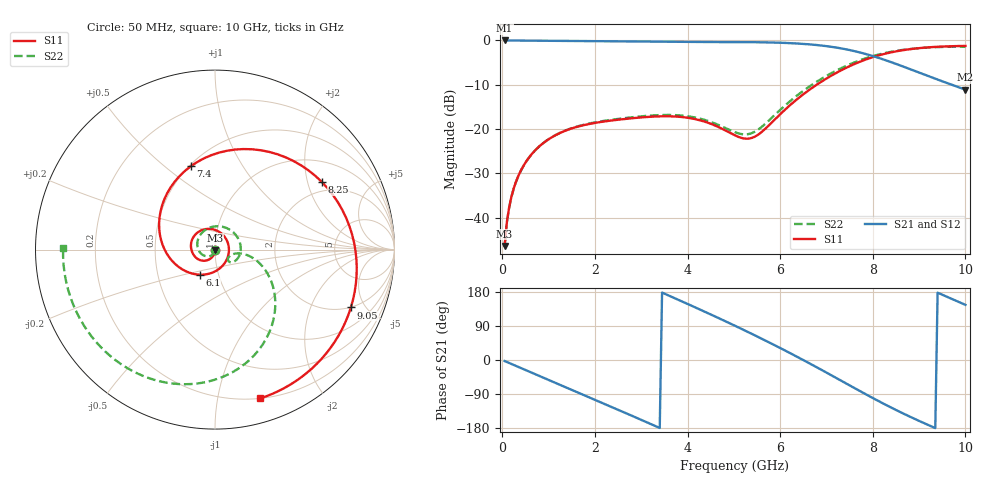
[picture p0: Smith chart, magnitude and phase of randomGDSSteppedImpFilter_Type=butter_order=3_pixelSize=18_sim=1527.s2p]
! freq	dB(S11)	phase(S11)	dB(S12)	phase(S12)
!  dB(S21)	phase(S21)	dB(S22)	phase(S22)
!S-par simulation data
#  GHz  S  DB  R 50
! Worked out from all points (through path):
!   200 points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, 50 MHz to 10 GHz, reference 50 ohm
!   highest |S21| = -0.01 dB at 50 MHz (marker M1); lowest = -11.1 dB at 10 GHz (marker M2)
!   group delay of S21, straight-line fit = 162 ps
!   lowest |S11| = -46.4 dB at 50 MHz (marker M3), VSWR 1.01, Z = 50 - j0.476 ohm
!   |S11| at or under -10 dB: start of sweep to 6.79 GHz
!   |S22| runs from -46.5 to -1.4 dB; largest |S21 - S12| = 0
!   S11 on the Smith chart (normalised r, x): 50 MHz: 1.00, -0.01; 6.1 GHz: 0.81, -0.23; 7.4 GHz: 0.51, +0.62; 8.25 GHz: 1.64, +2.46; 9.05 GHz: 1.98, -3.96; 10 GHz: 0.20, -1.33
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0.05  -46.41 -83.8  -0.01 -2.7  -0.01 -2.7  -46.45 -85.3
0.1  -40.93 -89.1  -0.01 -5.3  -0.01 -5.3  -40.98 -92.0
0.2  -35.17 -95.9  -0.02 -10.6  -0.02 -10.6  -35.22 -101.6
0.5  -27.59 -109.3  -0.04 -26.3  -0.04 -26.3  -27.61 -124.0
1.15  -21.39 -133.2  -0.10 -60.3  -0.10 -60.3  -21.36 -169.7
1.75  -19.15 -152.2  -0.16 -91.7  -0.16 -91.7  -19.06 146.2
2.65  -17.73 -176.8  -0.24 -139.2  -0.24 -139.2  -17.53 76.2
3.4  -17.14 158.8  -0.31 -179.4  -0.31 -179.4  -16.86 21.2
4.15  -17.74 121.7  -0.36 139.8  -0.36 139.8  -17.38 -22.0
4.6  -19.24 88.6  -0.37 114.7  -0.37 114.7  -18.78 -38.0
5.05  -21.56 38.2  -0.38 88.9  -0.38 88.9  -20.82 -37.9
5.55  -21.09 -45.9  -0.42 59.3  -0.42 59.3  -19.95 -15.3
6.1  -15.69 -121.7  -0.56 25.4  -0.56 25.4  -14.75 -9.7
6.7  -10.64 174.6  -0.95 -13.2  -0.95 -13.2  -9.93 -24.2
7.05  -8.29 139.8  -1.36 -36.5  -1.36 -36.5  -7.71 -36.4
7.4  -6.31 106.2  -1.96 -60.2  -1.96 -60.2  -5.87 -50.2
7.8  -4.50 69.8  -2.93 -87.1  -2.93 -87.1  -4.20 -67.6
8.25  -3.04 32.4  -4.37 -116.4  -4.37 -116.4  -2.88 -88.4
8.35  -2.80 24.7  -4.73 -122.6  -4.73 -122.6  -2.66 -93.1
9.05  -1.69 -23.0  -7.46 -163.5  -7.46 -163.5  -1.70 -126.8
9.5  -1.38 -48.5  -9.23 172.3  -9.23 172.3  -1.47 -150.1
10  -1.24 -73.1  -11.11 145.5  -11.11 145.5  -1.45 179.3
